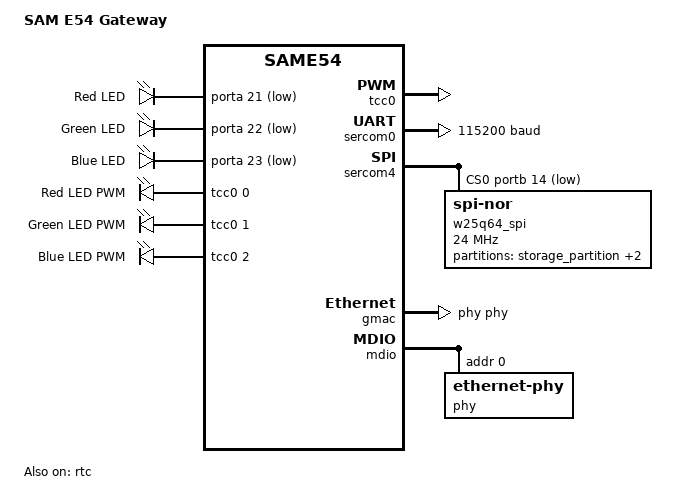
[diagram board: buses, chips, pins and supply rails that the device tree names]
/*
 * Copyright (c) 2019 Benjamin Valentin
 # Copyright (c) 2024-2025 Gerson Fernando Budke <nandojve@gmail.com>
 *
 * SPDX-License-Identifier: Apache-2.0
 */

/dts-v1/;
#include <atmel/same5xx20.dtsi>
#include "same54_gw2-pinctrl.dtsi"
#include <zephyr/dt-bindings/input/input-event-codes.h>

/ {
	model = "SAM E54 Gateway";
	compatible = "same54,gw2", "atmel,same54p20a", "atmel,same54";

	aliases {
		led0 = &led0;
		pwm-led0 = &pwm_led0;
		led1 = &led1;
		pwm-led1 = &pwm_led1;
		led2 = &led2;
		pwm-led2 = &pwm_led2;
		red-pwm-led = &pwm_led0;
		green-pwm-led = &pwm_led1;
		blue-pwm-led = &pwm_led2;
		spi1 = &sercom4;
	};

	chosen {
		zephyr,code-partition = &slot0_partition;
		zephyr,console = &sercom0;
		zephyr,shell-uart = &sercom0;
		zephyr,sram = &sram0;
		zephyr,flash = &flash0;
	};

	leds {
		compatible = "gpio-leds";
		led0: led_0 {
			gpios = <&porta 21 GPIO_ACTIVE_LOW>;
			label = "Red LED";
		};
		led1: led_1 {
			gpios = <&porta 22 GPIO_ACTIVE_LOW>;
			label = "Green LED";
		};
		led2: led_2 {
			gpios = <&porta 23 GPIO_ACTIVE_LOW>;
			label = "Blue LED";
		};
	};

	pwmleds {
		compatible = "pwm-leds";
		pwm_led0: pwm_led_0 {
			pwms = <&tcc0 0 PWM_MSEC(20)>;
			label = "Red LED PWM";
		};
		pwm_led1: pwm_led_1 {
			pwms = <&tcc0 1 PWM_MSEC(20)>;
			label = "Green LED PWM";
		};
		pwm_led2: pwm_led_2 {
			pwms = <&tcc0 2 PWM_MSEC(20)>;
			label = "Blue LED PWM";
		};
	};
};


&cpu0 {
	clock-frequency = <120000000>;
};

&tcc0 {
	status = "okay";
	compatible = "atmel,sam0-tcc-pwm";
	/* Gives a maximum period of 1.1s for 120MHz main clock */
	prescaler = <8>;
	channels = <4>;
	#pwm-cells = <2>;

	pinctrl-0 = <&led_pwm_default>;
	pinctrl-names = "default";
};

&rtc {
	status = "okay";
	counter-mode = "clock";
	prescaler = <1024>;

	atmel,assigned-clocks = <&osc32kctrl 4>;
};

&sercom0 {
	status = "okay";
	compatible = "atmel,sam0-uart";
	current-speed = <115200>;
	rxpo = <1>;
	txpo = <0>;
	#address-cells = <1>;
	#size-cells = <0>;

	pinctrl-0 = <&sercom0_uart_default>;
	pinctrl-names = "default";
};

&sercom4 {
	status = "okay";
	compatible = "atmel,sam0-spi";
	dipo = <3>;
	dopo = <0>;
	#address-cells = <1>;
	#size-cells = <0>;

	pinctrl-0 = <&sercom4_spi_default>;
	pinctrl-names = "default";

	cs-gpios = <&portb 14 GPIO_ACTIVE_LOW>;

	w25q64_spi: spi-nor-flash@0 {
		compatible = "jedec,spi-nor";
		reg = <0>;
		spi-max-frequency = <24000000>;
		size = <DT_SIZE_M(64)>; /* 64 Mbits */
		status = "okay";
		jedec-id = [ef 70 17];
		has-dpd;
		use-fast-read;
		t-enter-dpd = <3500>;
		t-exit-dpd = <3500>;
		erase-block-size = <DT_SIZE_K(4)>;
		write-block-size = <1>;

	};
};


&gmac {
	status = "okay";

	pinctrl-0 = <&gmac_rmii>;
	pinctrl-names = "default";

	phy-handle = <&phy>;
        // Example of using a random MAC address
        // zephyr,random-mac-address;

        // Example of setting a specific MAC address (replace with your desired address)
        // local-mac-address = [de ad be ef 00 11];

	// zephyr,deferred-init;
};

&mdio {
	status = "okay";

	pinctrl-0 = <&mdio_default>;
	pinctrl-names = "default";

	phy: ethernet-phy@0 {
		compatible = "ethernet-phy";
		status = "okay";
		reg = <0>;
	};
};

&flash0 {
	erase-block-size = <DT_SIZE_K(4)>;
	partitions {
		compatible = "fixed-partitions";
		#address-cells = <1>;
		#size-cells = <1>;

		boot_partition: partition@0 {
			reg = <0x0 0x00010000>;
		};

		slot0_partition: partition@10000 {
			reg = <0x00010000 0x00d0000>;
		};

		/*
		 * Forth partition last 128 kB - storage_partition
		 */
		forth_partition: partition@e0000 {
			reg = <0x00e0000 0x0001c000>;
		};

		 /*
		 * The final 16 KiB is reserved for the application.
		 * Storage partition will be used by FCB/LittleFS/NVS
		 * if enabled.
		 */
		chip_partition: partition@fc000 {
			label = "eeprom";
			reg = <0x000fc000 0x00004000>;
		};
	};
};


&w25q64_spi {
	partitions {
		compatible = "fixed-partitions";
		#address-cells = <1>;
		#size-cells = <1>;

		storage_partition: partition@10000 {
			reg = <0x00010000 (DT_SIZE_M(7) + 0x020000 - DT_SIZE_K(64))>;
		};

		scratch_partition: partition@720000 {
			reg = <0x000720000 0x00010000>;
		};

		slot1_partition: partition@730000 {
			reg = <0x000730000 0x00d0000>;
		};

	};
};
